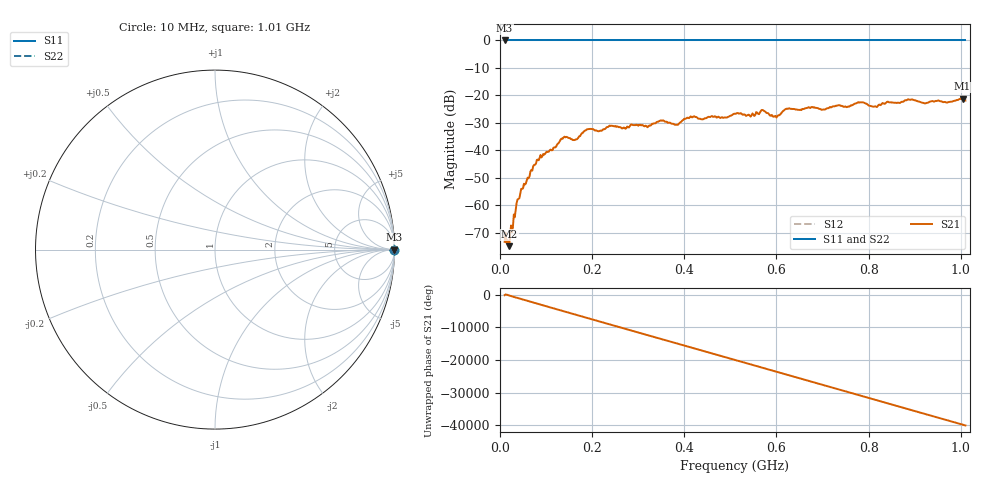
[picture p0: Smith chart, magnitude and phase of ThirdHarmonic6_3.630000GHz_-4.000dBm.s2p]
! 8/17/2025 12:10:14 PM
! C:\ANRITSUVNA\TEMP\TEMP.S2P
! CHANNEL.1
! TR.MEASUREMENT
! RAW.DATA
! RF.CORRECTION.OFF
! AVERAGING.OFF
! IF.BANDWIDTH: 5KHZ
! SWEEPTYPE:  FREQ.SWEEP(Linear)
! Reference Plane Port Info
! PORT:  PORT1  PORT2
! DISTANCE:  0  m  0  m
! TIME:  0  s  0  s
! PHASE.OFFSET:  0  deg.  0  deg.
! LOSS:  0  dB  0  dB
! REF.LOSS:  0  dB  0  dB
! REF.FREQ:  0  Hz  0  Hz
! Power Info
! POWER:  -20  dBm  -20  dBm
! EFF.POWER:  -20  dBm  -20  dBm
! SOURCE.ATTEN:  0  dB  0  dB
! TEST.ATTEN:  0  dB  0  dB
# GHZ S RI R 50.0
! FREQ.GHZ  S11RE  S11IM  S21RE  S21IM  S12RE  S12IM  S22RE  S22IM
!; PortSelection: Port_12
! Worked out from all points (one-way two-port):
!   501 points, 10 MHz to 1.01 GHz, reference 50 ohm
!   highest |S21| = -21.16 dB at 1.004 GHz (marker M1); lowest = -74.8 dB at 20 MHz (marker M2)
!   lowest |S11| = 0.0 dB at 10 MHz (marker M3)
!   |S11| at or under -10 dB: nowhere
!   |S22| runs from 0.0 to 0.0 dB; largest |S21 - S12| = 1.1
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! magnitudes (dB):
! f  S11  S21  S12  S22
! 10 MHz  0.0  -73.3  0.0  0.0
! 20 MHz  0.0  -74.8  0.0  0.0
! 42 MHz  0.0  -57.4  0.0  0.0
! 84 MHz  0.0  -43.6  0.0  0.0
! 136 MHz  0.0  -35.8  0.0  0.0
! 162 MHz  0.0  -36.2  0.0  0.0
! 178 MHz  0.0  -33.7  0.0  0.0
! 344 MHz  0.0  -29.5  0.0  0.0
! 382 MHz  0.0  -30.6  0.0  0.0
! 418 MHz  0.0  -27.9  0.0  0.0
! 510 MHz  0.0  -26.7  0.0  0.0
! 548 MHz  0.0  -26.6  0.0  0.0
! 570 MHz  0.0  -25.3  0.0  0.0
! 596 MHz  0.0  -27.6  0.0  0.0
! 624 MHz  0.0  -24.9  0.0  0.0
! 678 MHz  0.0  -24.2  0.0  0.0
! 702 MHz  0.0  -25.1  0.0  0.0
! 782 MHz  0.0  -22.5  0.0  0.0
! 814 MHz  0.0  -23.9  0.0  0.0
! 844 MHz  0.0  -22.5  0.0  0.0
! 1.004 GHz  0.0  -21.2  0.0  0.0
! 1.01 GHz  0.0  -21.9  0.0  0.0
